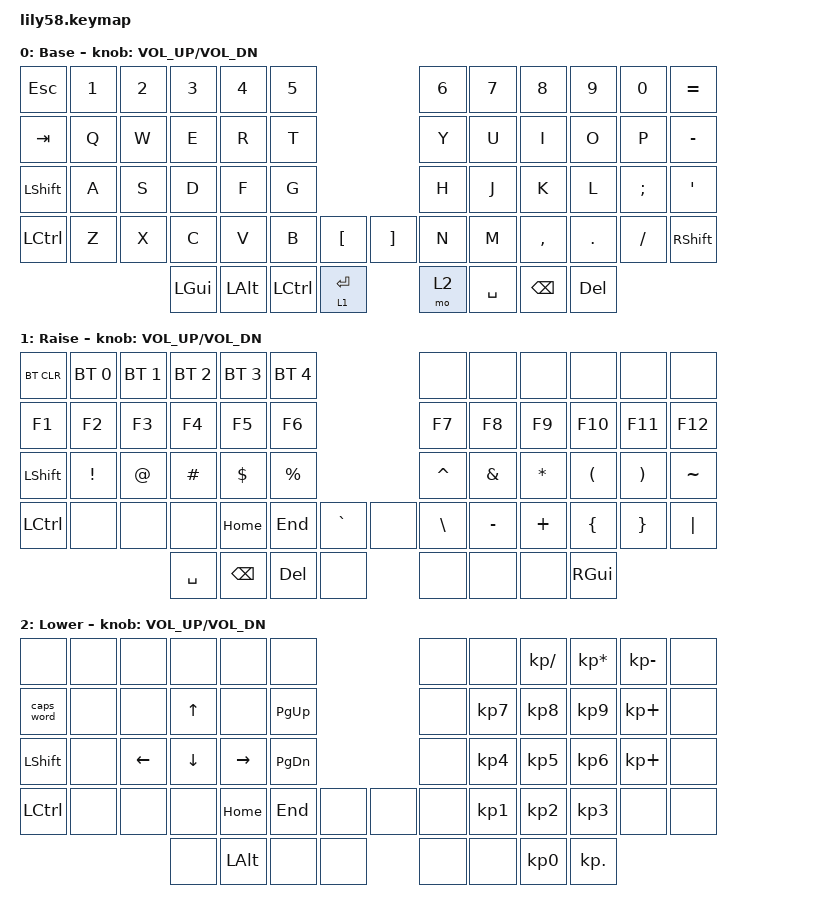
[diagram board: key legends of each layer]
/*
 * Copyright (c) 2020 The ZMK Contributors
 *
 * SPDX-License-Identifier: MIT
 */

#include <behaviors.dtsi>
#include <dt-bindings/zmk/keys.h>
#include <dt-bindings/zmk/bt.h>
#include <dt-bindings/zmk/ext_power.h>
// https://zmk.dev/docs/keymaps/list-of-keycodes

/ {
macros {
        zed_em_kay: zed_em_kay {
            compatible = "zmk,behavior-macro";
            #binding-cells = <0>;
            bindings
                = <&macro_press &kp LSHFT>
                , <&macro_tap &kp Z &kp M &kp K>
                , <&macro_release &kp LSHFT>
                ;
        };
    };




    keymap {
        compatible = "zmk,keymap";

        default_layer {
// ------------------------------------------------------------------------------------------------------------
// |  ESC  |  1  |  2  |  3   |  4   |  5   |                   |  6   |  7    |  8    |  9   |   0   |   =   |
// |  TAB  |  Q  |  W  |  E   |  R   |  T   |                   |  Y   |  U    |  I    |  O   |   P   |   -   |
// | SHIFT |  A  |  S  |  D   |  F   |  G   |                   |  H   |  J    |  K    |  L   |   ;   |   '   |
// |  CTRL |  Z  |  X  |  C   |  V   |  B   |   "["  |  |  "]"  |  N   |  M    |  ,    |  .   |   /   | SHIFT |
//                     | GUI  | ALT  | ENTER|  RAISE |  | LOWER | SPACE| BSPC  | DEL   |
            bindings = <
&kp ESC   &kp N1 &kp N2 &kp N3   &kp N4   &kp N5                     &kp N6 &kp N7   &kp N8    &kp N9  &kp N0   &kp EQUAL
&kp TAB   &kp Q  &kp W  &kp E    &kp R    &kp T                      &kp Y  &kp U    &kp I     &kp O   &kp P    &kp MINUS
&kp LSHFT &kp A  &kp S  &kp D    &kp F    &kp G                      &kp H  &kp J    &kp K     &kp L   &kp SEMI &kp SQT
&kp LCTRL &kp Z  &kp X  &kp C    &kp V    &kp B  &kp LBKT &kp RBKT   &kp N  &kp M    &kp COMMA &kp DOT &kp FSLH &kp RSHFT
                        &kp LGUI &kp LALT  &kp LCTRL &lt 1 RET    &mo 2 &kp SPACE   &kp BSPC &kp DEL
            >;
display-name = "Base";
            sensor-bindings = <&inc_dec_kp C_VOL_UP C_VOL_DN>;
        };

        raise_layer {
// ------------------------------------------------------------------------------------------------------------
// | BTCLR | BT1 | BT2 |  BT3 |  BT4 |  BT5 |                   |      |       |       |      |       |       |
// |  F1   |  F2 |  F3 |  F4  |  F5  |  F6  |                   |  F7  |  F8   |  F9   |  F10 |  F11  |  F12  |
// | SHIFT |  !  |  @  |  #   |  $   |  %   |                   |  ^   |  &    |  *    |  (   |   )   |   ~   |
// |  CTRL |     |     |      | HOME | END  |        |  |       |  \   |  _    |  +    |  {   |   }   |  "|"  |
//                     |      |  ALT |  `   |        |  |       |      |       |  GUI  |
            bindings = <
&bt BT_CLR &bt BT_SEL 0     &bt BT_SEL 1      &bt BT_SEL 2      &bt BT_SEL 3 &bt BT_SEL 4                 &none     &none     &none     &none     &none     &none
&kp F1     &kp F2           &kp F3            &kp F4            &kp F5       &kp F6                       &kp F7    &kp F8    &kp F9    &kp F10   &kp F11   &kp F12
&kp LSHFT  &kp EXCL         &kp AT            &kp HASH          &kp DOLLAR   &kp PRCNT                    &kp CARET &kp AMPS  &kp ASTRK &kp LPAR  &kp RPAR  &kp TILDE
&kp LCTRL      &none            &none             &none             &kp HOME        &kp END       &kp GRAVE   &none    &kp BSLH     &kp MINUS &kp PLUS  &kp LBRC  &kp RBRC  &kp PIPE
                                              &kp SPACE   &kp BSPC &kp DEL         &none   &none    &none     &none    &kp RGUI
            >;
display-name = "Raise";
            sensor-bindings = <&inc_dec_kp C_VOL_UP C_VOL_DN>;
        };

        lower_layer {
// ------------------------------------------------------------------------------------------------------------
// |       |     |     |      |      |      |                   |      |       |   /   |  *   |   -   |       |
// | CAP_W |     |     |  ^   |      | PG_UP|                   |      |   7   |   8   |  9   |   +   |       |
// | SHIFT |     | <-  |  v   |  ->  | PG_DN|                   |      |   4   |   5   |  6   |   +   |       |
// |  CTRL |     |     |      | HOME | END  |         |  |       |      |   1   |   2   |  3   |       |       |
//                     |      |  ALT |      |         |  |       |      |   0   |   .   |
            
display-name = "Lower";
bindings = <
&none       &none   &none   &none     &none    &none                     &none      &none      &kp KP_DIVIDE &kp KP_MULTIPLY   &kp KP_MINUS    &none
&caps_word  &none   &none   &kp UP    &none    &kp PG_UP                     &none      &kp KP_N7  &kp KP_N8     &kp KP_N9         &kp KP_PLUS     &none
&kp LSHFT       &none   &kp LEFT &kp DOWN  &kp RIGHT &kp PG_DN                     &none      &kp KP_N4  &kp KP_N5  &kp KP_N6   &kp KP_PLUS &none
&kp LCTRL       &none   &none       &none      &kp HOME        &kp END     &none  &none   &none    &kp KP_N1  &kp KP_N2    &kp KP_N3   &none   &none
                            &none    &kp LALT    &none  &none   &none    &none      &kp KP_N0    &kp KP_DOT
            >;

            sensor-bindings = <&inc_dec_kp C_VOL_UP C_VOL_DN>;
        };
    };
};
